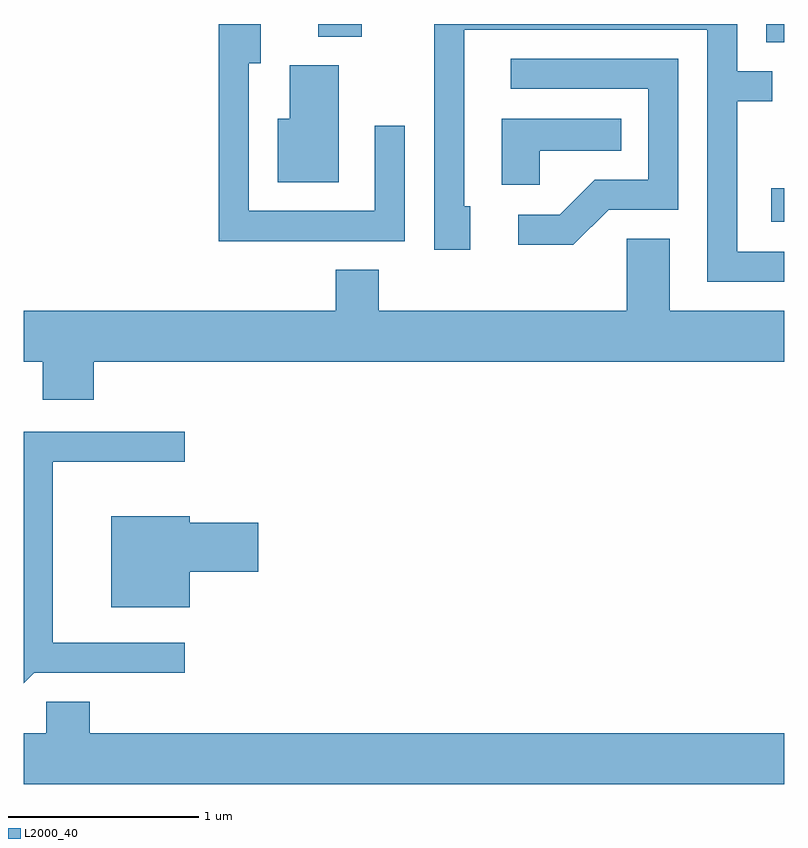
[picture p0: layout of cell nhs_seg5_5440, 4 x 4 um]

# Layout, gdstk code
import gdstk
lib = gdstk.Library(unit=1e-6, precision=1e-09)
def R(c, l, rs):  # rectangles x0, y0, x1, y1
    for r in rs: c.add(gdstk.rectangle(r[:2], r[2:], *l))
def P(c, l, *ps):  # polygons
    for p in ps: c.add(gdstk.Polygon(p, *l))
L2000_40 = (2000, 40)

nhs_seg5_5440 = lib.new_cell('nhs_seg5_5440')
R(nhs_seg5_5440, L2000_40, [(349.541,1513.031,349.611,1513.209), (349.516,1513.976,349.611,1514.072), (347.161,1514.006,347.389,1514.072)])
P(nhs_seg5_5440, L2000_40, [(349.611,1512.874),(349.364,1512.874),(349.364,1513.666),(349.548,1513.666),(349.548,1513.824),(349.364,1513.824),(349.364,1514.072),(347.771,1514.072),(347.771,1512.886),(347.959,1512.886),(347.959,1513.114),(347.929,1513.114),(347.929,1514.041),(349.206,1514.041),(349.206,1512.716),(349.611,1512.716)],
  [(347.614,1513.538),(347.456,1513.538),(347.456,1513.089),(346.794,1513.089),(346.794,1513.866),(346.859,1513.866),(346.859,1514.072),(346.636,1514.072),(346.636,1512.931),(347.614,1512.931)],
  [(348.687,1513.096),(349.054,1513.096),(349.054,1513.889),(348.173,1513.889),(348.173,1513.731),(348.896,1513.731),(348.896,1513.254),(348.614,1513.254),(348.429,1513.069),(348.213,1513.069),(348.213,1512.911),(348.502,1512.911)],
  [(347.269,1513.854),(347.011,1513.854),(347.011,1513.574),(346.946,1513.574),(346.946,1513.241),(347.269,1513.241)],
  [(348.324,1513.406),(348.753,1513.406),(348.753,1513.574),(348.126,1513.574),(348.126,1513.226),(348.324,1513.226)],
  [(345.611,1512.296),(345.711,1512.296),(345.711,1512.096),(345.979,1512.096),(345.979,1512.296),(349.611,1512.296),(349.611,1512.564),(349.009,1512.564),(349.009,1512.944),(348.781,1512.944),(348.781,1512.564),(347.479,1512.564),(347.479,1512.779),(347.251,1512.779),(347.251,1512.564),(345.611,1512.564)],
  [(345.667,1510.661),(346.458,1510.661),(346.458,1510.819),(345.764,1510.819),(345.764,1511.771),(346.458,1511.771),(346.458,1511.929),(345.611,1511.929),(345.611,1510.606),(345.612,1510.606)],
  [(346.484,1511.191),(346.844,1511.191),(346.844,1511.449),(346.484,1511.449),(346.484,1511.484),(346.071,1511.484),(346.071,1511.006),(346.484,1511.006)],
  [(349.611,1510.344),(345.959,1510.344),(345.959,1510.509),(345.731,1510.509),(345.731,1510.344),(345.611,1510.344),(345.611,1510.076),(349.611,1510.076)])

lib.write_gds('nhs_seg5_5440.gds')
